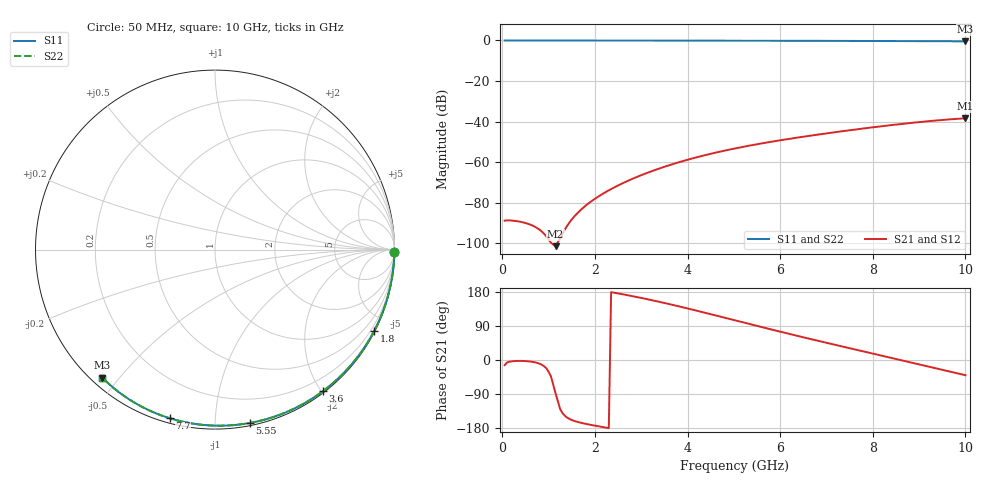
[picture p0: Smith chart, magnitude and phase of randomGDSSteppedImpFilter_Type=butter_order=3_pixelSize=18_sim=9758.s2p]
! freq	dB(S11)	phase(S11)	dB(S12)	phase(S12)
!  dB(S21)	phase(S21)	dB(S22)	phase(S22)
!S-par simulation data
#  GHz  S  DB  R 50
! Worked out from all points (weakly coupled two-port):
!   200 points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, 50 MHz to 10 GHz, reference 50 ohm
!   highest |S21| = -38.35 dB at 10 GHz (marker M1); lowest = -101.4 dB at 1.15 GHz (marker M2)
!   lowest |S11| = -0.4 dB at 10 GHz (marker M3), VSWR 39.21, Z = 1.53 - j22.6 ohm
!   |S11| at or under -10 dB: nowhere
!   |S22| runs from -0.4 to 0.0 dB; largest |S21 - S12| = 0
!   S11 on the Smith chart (normalised r, x): 50 MHz: open; 1.8 GHz: 0.04, -4.18; 3.6 GHz: 0.02, -2.02; 5.55 GHz: 0.02, -1.22; 7.7 GHz: 0.02, -0.77; 10 GHz: 0.03, -0.45
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0.05  -0.00 -0.8  -88.83 -13.6  -88.83 -13.6  -0.00 -0.8
0.6  -0.01 -9.1  -90.76 -4.0  -90.76 -4.0  -0.01 -9.1
1.15  -0.02 -17.3  -101.42 -87.8  -101.42 -87.8  -0.02 -17.3
1.75  -0.03 -26.2  -82.40 -167.2  -82.40 -167.2  -0.03 -26.2
1.8  -0.03 -26.9  -81.44 -168.5  -81.44 -168.5  -0.03 -26.9
1.85  -0.04 -27.7  -80.54 -169.8  -80.54 -169.8  -0.04 -27.7
1.9  -0.04 -28.4  -79.67 -171.0  -79.67 -171.0  -0.04 -28.4
2.05  -0.04 -30.6  -77.30 -174.3  -77.30 -174.3  -0.04 -30.6
2.25  -0.04 -33.5  -74.51 -178.7  -74.51 -178.7  -0.04 -33.5
2.65  -0.05 -39.3  -69.84 172.3  -69.84 172.3  -0.05 -39.3
3  -0.06 -44.2  -66.42 163.8  -66.42 163.8  -0.06 -44.2
3.4  -0.07 -49.9  -63.04 153.3  -63.04 153.3  -0.07 -49.9
3.6  -0.07 -52.7  -61.53 147.7  -61.53 147.7  -0.07 -52.7
4.3  -0.09 -62.2  -56.99 127.1  -56.99 127.1  -0.09 -62.2
5.05  -0.11 -72.2  -53.12 103.9  -53.12 103.9  -0.11 -72.2
5.55  -0.13 -78.7  -50.96 88.4  -50.96 88.4  -0.13 -78.7
6.1  -0.15 -85.6  -48.85 71.8  -48.85 71.8  -0.15 -85.6
6.7  -0.18 -93.0  -46.78 54.1  -46.78 54.1  -0.18 -93.0
7.7  -0.24 -105.0  -43.68 25.5  -43.68 25.5  -0.24 -105.0
8.35  -0.29 -112.6  -41.86 7.1  -41.86 7.1  -0.29 -112.6
9.2  -0.36 -122.4  -39.81 -17.2  -39.81 -17.2  -0.36 -122.4
10  -0.44 -131.4  -38.35 -40.1  -38.35 -40.1  -0.44 -131.4
